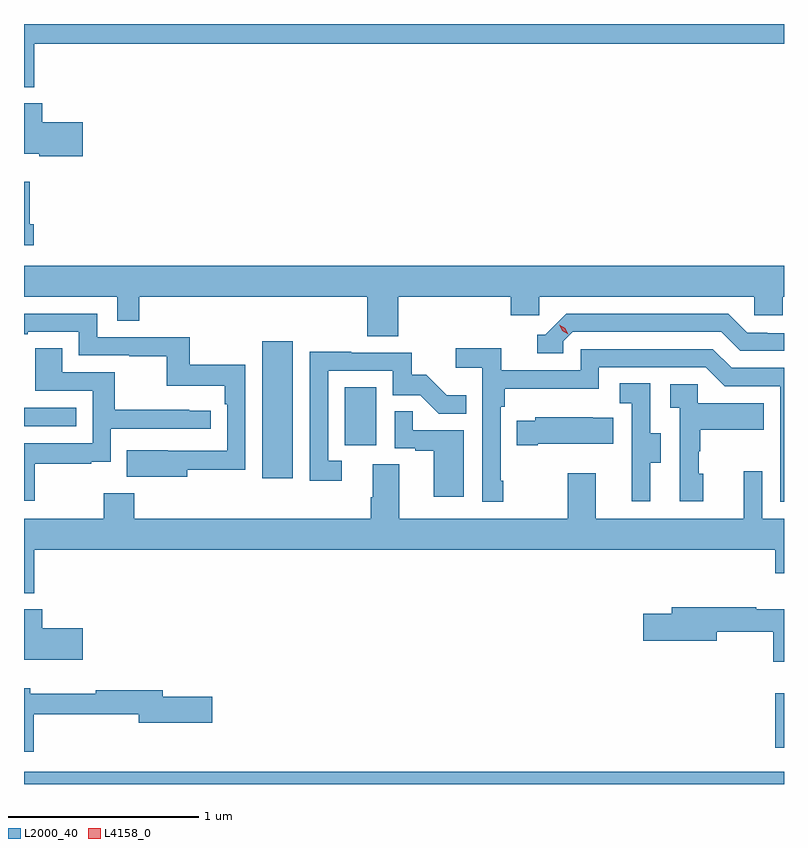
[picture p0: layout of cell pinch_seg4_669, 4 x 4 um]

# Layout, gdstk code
import gdstk
lib = gdstk.Library(unit=1e-6, precision=1e-09)
def R(c, l, rs):  # rectangles x0, y0, x1, y1
    for r in rs: c.add(gdstk.rectangle(r[:2], r[2:], *l))
def P(c, l, *ps):  # polygons
    for p in ps: c.add(gdstk.Polygon(p, *l))
L2000_40 = (2000, 40)
L4158_0 = (4158, 0)

pinch_seg4_669 = lib.new_cell('pinch_seg4_669')
R(pinch_seg4_669, L2000_40, [(1126.223,756.96,1130.223,757.024), (1130.177,757.152,1130.223,757.438), (1127.477,758.568,1127.638,759.289), (1127.912,758.742,1128.076,759.049), (1126.223,758.844,1126.499,758.94)])
P(pinch_seg4_669, L2000_40, [(1126.277,760.856),(1130.223,760.856),(1130.223,760.96),(1126.223,760.96),(1126.223,760.628),(1126.277,760.628)],
  [(1126.531,760.443),(1126.319,760.443),(1126.319,760.543),(1126.223,760.543),(1126.223,760.277),(1126.302,760.277),(1126.302,760.265),(1126.531,760.265)],
  [(1126.274,759.907),(1126.254,759.907),(1126.254,760.129),(1126.223,760.129),(1126.223,759.795),(1126.274,759.795)],
  [(1128.194,759.524),(1128.785,759.524),(1128.785,759.426),(1128.936,759.426),(1128.936,759.524),(1130.067,759.524),(1130.067,759.426),(1130.217,759.426),(1130.217,759.524),(1130.223,759.524),(1130.223,759.688),(1126.223,759.688),(1126.223,759.524),(1126.713,759.524),(1126.713,759.397),(1126.829,759.397),(1126.829,759.524),(1128.029,759.524),(1128.029,759.316),(1128.194,759.316)],
  [(1129.062,759.291),(1129.11,759.339),(1129.893,759.339),(1129.992,759.24),(1130.223,759.24),(1130.223,759.333),(1130.136,759.333),(1130.136,759.336),(1130.029,759.336),(1129.93,759.435),(1129.077,759.435),(1128.966,759.324),(1128.923,759.324),(1128.923,759.228),(1129.062,759.228)],
  [(1127.083,758.614),(1127.388,758.614),(1127.388,759.166),(1127.095,759.166),(1127.095,759.312),(1126.608,759.312),(1126.608,759.435),(1126.223,759.435),(1126.223,759.327),(1126.243,759.327),(1126.243,759.339),(1126.512,759.339),(1126.512,759.216),(1126.777,759.216),(1126.777,759.211),(1126.974,759.211),(1126.974,759.056),(1127.279,759.056),(1127.279,758.96),(1127.292,758.96),(1127.292,758.715),(1126.979,758.715),(1126.979,758.716),(1126.765,758.716),(1126.765,758.576),(1127.083,758.576)],
  [(1128.745,758.557),(1128.732,758.557),(1128.732,758.945),(1128.752,758.945),(1128.752,759.041),(1129.248,759.041),(1129.248,759.153),(1129.812,759.153),(1129.911,759.054),(1130.202,759.054),(1130.202,758.445),(1130.223,758.445),(1130.223,759.15),(1129.948,759.15),(1129.849,759.249),(1129.152,759.249),(1129.152,759.138),(1128.734,759.138),(1128.734,759.254),(1128.495,759.254),(1128.495,759.152),(1128.636,759.152),(1128.636,758.445),(1128.745,758.445)],
  [(1126.279,758.646),(1126.577,758.646),(1126.577,758.657),(1126.68,758.657),(1126.68,758.829),(1127.206,758.829),(1127.206,758.925),(1127.093,758.925),(1127.093,758.93),(1126.7,758.93),(1126.7,759.126),(1126.423,759.126),(1126.423,759.254),(1126.283,759.254),(1126.283,759.03),(1126.584,759.03),(1126.584,758.754),(1126.223,758.754),(1126.223,758.451),(1126.279,758.451)],
  [(1127.896,758.661),(1127.823,758.661),(1127.823,759.135),(1128.165,759.135),(1128.165,759.006),(1128.309,759.006),(1128.407,758.908),(1128.551,758.908),(1128.551,759.007),(1128.447,759.007),(1128.34,759.114),(1128.264,759.114),(1128.264,759.231),(1127.945,759.231),(1127.945,759.236),(1127.727,759.236),(1127.727,758.556),(1127.896,758.556)],
  [(1129.519,758.65),(1129.573,758.65),(1129.573,758.805),(1129.518,758.805),(1129.518,759.068),(1129.359,759.068),(1129.359,758.965),(1129.422,758.965),(1129.422,758.661),(1129.421,758.661),(1129.421,758.448),(1129.519,758.448)],
  [(1129.798,758.592),(1129.773,758.592),(1129.773,758.711),(1129.783,758.711),(1129.783,758.825),(1130.117,758.825),(1130.117,758.965),(1129.77,758.965),(1129.77,759.063),(1129.623,759.063),(1129.623,758.939),(1129.674,758.939),(1129.674,758.448),(1129.798,758.448)],
  [(1128.538,758.823),(1128.269,758.823),(1128.269,758.921),(1128.174,758.921),(1128.174,758.727),(1128.281,758.727),(1128.281,758.715),(1128.38,758.715),(1128.38,758.472),(1128.538,758.472)],
  [(1128.928,758.75),(1129.325,758.75),(1129.325,758.887),(1129.217,758.887),(1129.217,758.89),(1128.915,758.89),(1128.915,758.872),(1128.817,758.872),(1128.817,758.743),(1128.928,758.743)],
  [(1126.277,758.192),(1130.177,758.192),(1130.177,758.068),(1130.223,758.068),(1130.223,758.356),(1130.109,758.356),(1130.109,758.605),(1130.012,758.605),(1130.012,758.356),(1129.231,758.356),(1129.231,758.596),(1129.084,758.596),(1129.084,758.356),(1128.199,758.356),(1128.199,758.642),(1128.059,758.642),(1128.059,758.468),(1128.047,758.468),(1128.047,758.356),(1126.802,758.356),(1126.802,758.491),(1126.642,758.491),(1126.642,758.356),(1126.223,758.356),(1126.223,757.964),(1126.277,757.964)],
  [(1130.223,757.88),(1130.078,757.88),(1130.078,757.891),(1129.631,757.891),(1129.631,757.857),(1129.482,757.857),(1129.482,757.715),(1129.87,757.715),(1129.87,757.762),(1130.167,757.762),(1130.167,757.604),(1130.223,757.604)],
  [(1126.531,757.779),(1126.319,757.779),(1126.319,757.879),(1126.223,757.879),(1126.223,757.613),(1126.531,757.613)],
  [(1126.274,757.326),(1126.826,757.326),(1126.826,757.283),(1127.215,757.283),(1127.215,757.418),(1126.954,757.418),(1126.954,757.454),(1126.601,757.454),(1126.601,757.435),(1126.255,757.435),(1126.255,757.465),(1126.223,757.465),(1126.223,757.131),(1126.274,757.131)])
P(pinch_seg4_669, L4158_0, [(1129.087,759.326),(1129.056,759.345),(1129.04,759.378),(1129.04,759.378),(1129.04,759.378),(1129.071,759.359),(1129.087,759.326),(1129.087,759.326)])

lib.write_gds('pinch_seg4_669.gds')
